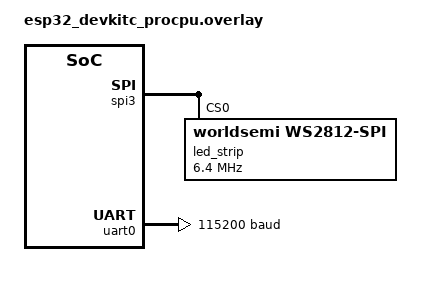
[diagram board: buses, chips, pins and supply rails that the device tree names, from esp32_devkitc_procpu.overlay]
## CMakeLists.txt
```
# Minimum CMake version required
cmake_minimum_required(VERSION 3.20.0)

#set(BOARD esp_wrover_kit/esp32/procpu CACHE STRING "Board name")

# Find the Zephyr package (required for all Zephyr projects)
find_package(Zephyr REQUIRED HINTS $ENV{ZEPHYR_BASE})

# Define the project name
project(Robot_proj)

# Add the source files to the application
target_sources(app PRIVATE
    src/main.c
    src/bluetooth.c
    src/led_control.c
    src/ultrasonic.c
)
```

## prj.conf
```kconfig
# Bluetooth
CONFIG_BT=y
CONFIG_BT_PERIPHERAL=y
CONFIG_BT_DEVICE_NAME="DogRobot"
CONFIG_BT_GATT_DYNAMIC_DB=y
CONFIG_BT_MAX_CONN=1
CONFIG_BT_DEVICE_APPEARANCE=833

# Logging
CONFIG_LOG=y
CONFIG_PRINTK=y

# Console
CONFIG_SERIAL=y
CONFIG_CONSOLE=y
CONFIG_UART_CONSOLE=y

# System
CONFIG_MAIN_STACK_SIZE=2048
CONFIG_HEAP_MEM_POOL_SIZE=32768

# FPU
CONFIG_FPU=y

# I2C Configuration
#CONFIG_I2C=y
#CONFIG_I2C_ESP32=y
#CONFIG_LOG_DEFAULT_LEVEL=3
#CONFIG_I2C_LOG_LEVEL_INF=y

# GPIO
CONFIG_GPIO=y
CONFIG_GPIO_ESP32=y

#servos
#CONFIG_PWM=y

# Force I2C bitbang mode (software I2C)
#CONFIG_I2C_BITBANG=y
#CONFIG_I2C_GPIO=y

# LED Strip (WS2812)
CONFIG_LED=y
CONFIG_LED_STRIP=y
CONFIG_WS2812_STRIP_SPI=y
CONFIG_SPI=y
```

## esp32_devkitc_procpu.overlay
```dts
/ {
    aliases {
        led-strip = &led_strip;
    };
};

/ {
    chosen {
        zephyr,sram = &sram0;
    };
};

&spi3 {
    status = "okay";
    
    led_strip: ws2812@0 {
        compatible = "worldsemi,ws2812-spi";
        reg = <0>;
        spi-max-frequency = <6400000>;
        
        chain-length = <4>;
        spi-one-frame = <0x70>;
        spi-zero-frame = <0x40>;
        color-mapping = <3 2 1>;
        reset-delay = <280>;
    };
};

&uart0 {
    status = "okay";
    current-speed = <115200>;
};
```

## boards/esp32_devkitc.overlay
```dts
/*
 * Device Tree Overlay for Freenove ESP32 Dog Robot
 * Board: esp32_devkitc
 * Hardware: ESP32-WROVER with OV2640 Camera
 * 
 * This file configures all the GPIO pins according to 
 * Freenove's official hardware layout.
 */

// Enable WiFi
&wifi {
    status = "okay";
};

// Bluetooth
&bluetooth {
    status = "okay";
};

// UART
&uart0 {
    status = "okay";
    current-speed = <115200>;
};
```

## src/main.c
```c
#include <stdio.h>
#include <zephyr/kernel.h>
#include <zephyr/logging/log.h>
#include "bluetooth.h"
#include "led_control.h"
#include "ultrasonic.h"

LOG_MODULE_REGISTER(main, LOG_LEVEL_INF);

/* Distance streaming control */
static bool distance_streaming_enabled = false;
static struct k_thread distance_thread;
static K_THREAD_STACK_DEFINE(distance_stack, 1024);

/* Distance streaming thread */
static void distance_streaming_thread(void *arg1, void *arg2, void *arg3)
{
    ARG_UNUSED(arg1);
    ARG_UNUSED(arg2);
    ARG_UNUSED(arg3);
    
    LOG_INF("Distance streaming thread started");
    
    while (1) {
        if (distance_streaming_enabled && bluetooth_is_connected()) {
            int distance = ultrasonic_get_distance_cm();
            
            char response[32];
            if (distance >= 0) {
                snprintf(response, sizeof(response), "DIST:%d", distance);
            } else {
                snprintf(response, sizeof(response), "DIST:---");
            }
            
            int ret = bluetooth_send_data((const uint8_t *)response, strlen(response));
            if (ret != 0) {
                LOG_WRN("Failed to send distance data");
            }
            
            k_msleep(200);  // Send every 200ms (5 times per second)
        } else {
            k_msleep(500);  // Check less frequently when disabled
        }
    }
}

/* Bluetooth data handler */
void on_bluetooth_data_received(const uint8_t *data, uint16_t len)
{
    if (len == 0) {
        return;
    }
    
    switch (data[0]) {
        case 'T':
            bluetooth_send_data((const uint8_t *)"Blinking LEDs...", sizeof("Blinking LEDs...") - 1);
            LOG_INF("→ 'T' received - Blinking LEDs");
            led_blink_test();
            bluetooth_send_data((const uint8_t *)"Blinking Complete", sizeof("Blinking Complete") - 1);
            break;
            
        case 'D':
            LOG_INF("→ 'D' received - Get Distance (single)");
            {
                int distance = ultrasonic_get_distance_cm();
                char response[32];
                if (distance >= 0) {
                    snprintf(response, sizeof(response), "DIST:%d", distance);
                } else {
                    snprintf(response, sizeof(response), "DIST:--");
                }
                bluetooth_send_data((const uint8_t *)response, strlen(response));
            }
            break;
            
        case 'A':
            LOG_INF("→ 'A' received - Start Auto Distance Streaming");
            distance_streaming_enabled = true;
            bluetooth_send_data((const uint8_t *)"Distance streaming ON", sizeof("Distance streaming ON") - 1);
            break;
            
        case 'Z':
            LOG_INF("→ 'Z' received - Stop Auto Distance Streaming");
            distance_streaming_enabled = false;
            break;
            
        case 'P':
            switch (data[1]) {
                case 'G':
                    bluetooth_send_data((const uint8_t *)"Executing grid walk", sizeof("Executing grid walk") - 1);
                    LOG_INF("→ 'PG' received - Executing grid walk pattern");
                    bluetooth_send_data((const uint8_t *)"Grid walk Complete", sizeof("Grid walk Complete") - 1);
                    // Call function to execute grid walk pattern
                    break;
                case 'S':
                    bluetooth_send_data((const uint8_t *)"Executing spiral walk", sizeof("Executing spiral walk") - 1);
                    LOG_INF("→ 'PS' received - Executing spiral walk pattern");
                    bluetooth_send_data((const uint8_t *)"Spiral walk Complete", sizeof("Spiral walk Complete") - 1);
                    // Call function to execute spiral walk pattern
                    break;
                case 'R':
                    bluetooth_send_data((const uint8_t *)"Executing random walk", sizeof("Executing random walk") - 1);
                    LOG_INF("→ 'PR' received - Executing random walk pattern");
                    bluetooth_send_data((const uint8_t *)"Random walk Complete", sizeof("Random walk Complete") - 1);
                    // Call function to execute random walk pattern
                    break;
                default:
                    LOG_INF("→ 'P' received with unknown pattern type: 0x%02X", data[1]);
                    break;
            }
            break;
            
        default:
            LOG_INF("Unknown command: 0x%02X", data[0]);
            break;
    }
}

int main(void)
{
    int ret;
    
    LOG_INF("========================================");
    LOG_INF("  Robot Control System");
    LOG_INF("========================================");
    
    /* Initialize LEDs */
    LOG_INF("1. Initializing LEDs...");
    ret = led_init();
    if (ret) {
        LOG_ERR("✗ LED init FAILED!");
        return ret;
    }
    LOG_INF("✓ LEDs initialized");
    
    /* Initialize Ultrasonic Sensor */
    LOG_INF("2. Initializing Ultrasonic Sensor...");
    ret = ultrasonic_init();
    if (ret) {
        LOG_ERR("✗ Ultrasonic init FAILED!");
        return ret;
    }
    LOG_INF("✓ Ultrasonic sensor initialized");
    
    /* Initialize Bluetooth */
    LOG_INF("3. Initializing Bluetooth...");
    ret = bluetooth_init();
    if (ret) {
        LOG_ERR("✗ Bluetooth init FAILED!");
        return ret;
    }
    LOG_INF("✓ Bluetooth initialized");
    
    bluetooth_register_callback(on_bluetooth_data_received);
    
    ret = bluetooth_start_advertising();
    if (ret) {
        LOG_ERR("✗ Advertising FAILED!");
        return ret;
    }
    
    /* Start distance streaming thread */
    LOG_INF("4. Starting distance streaming thread...");
    k_thread_create(&distance_thread, distance_stack,
                    K_THREAD_STACK_SIZEOF(distance_stack),
                    distance_streaming_thread,
                    NULL, NULL, NULL,
                    7, 0, K_NO_WAIT);
    k_thread_name_set(&distance_thread, "distance");
    LOG_INF("✓ Distance thread started");
    
    LOG_INF("========================================");
    LOG_INF("ROBOT READY!");
    LOG_INF("========================================");
    LOG_INF("Commands:");
    LOG_INF("  'T'  = Blink LEDs");
    LOG_INF("  'D'  = Get Distance (single)");
    LOG_INF("  'A'  = Auto distance streaming ON");
    LOG_INF("  'Z'  = Auto distance streaming OFF");
    LOG_INF("  'PG' = Grid walk pattern");
    LOG_INF("  'PS' = Spiral walk pattern");
    LOG_INF("  'PR' = Random walk pattern");
    LOG_INF("========================================");
    
    while (1) {
        k_msleep(5000);
    }
    
    return 0;
}
```

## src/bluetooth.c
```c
#include "bluetooth.h"
#include <zephyr/kernel.h>
#include <zephyr/bluetooth/bluetooth.h>
#include <zephyr/bluetooth/conn.h>
#include <zephyr/bluetooth/gatt.h>
#include <zephyr/logging/log.h>
#include <string.h>

LOG_MODULE_REGISTER(bluetooth, LOG_LEVEL_INF); /*This allows log messages from this file to be identified and filtered.*/

static struct bt_conn *current_conn = NULL; /*This stores the active Bluetooth connection.*/
static bool is_connected = false; /*Tracks if connected to bt*/
static bt_rx_callback_t rx_callback = NULL; /*Stores the user's callback function pointer*/

/* Custom Service UUID: 12345678-1234-5678-1234-56789abcdef0 */
#define BT_UUID_CUSTOM_SERVICE_VAL \
    BT_UUID_128_ENCODE(0x12345678, 0x1234, 0x5678, 0x1234, 0x56789abcdef0)

/* Custom Characteristic UUID: 12345678-1234-5678-1234-56789abcdef1 */
#define BT_UUID_CUSTOM_CHAR_VAL \
    BT_UUID_128_ENCODE(0x12345678, 0x1234, 0x5678, 0x1234, 0x56789abcdef1)

#define BT_UUID_CUSTOM_SERVICE  BT_UUID_DECLARE_128(BT_UUID_CUSTOM_SERVICE_VAL)
#define BT_UUID_CUSTOM_CHAR     BT_UUID_DECLARE_128(BT_UUID_CUSTOM_CHAR_VAL)


/* Connection callbacks: Callback function automatically called by Zephyr when a device connects */
static void connected(struct bt_conn *conn, uint8_t err)
{
    /*If err is non-zero (connection failed)*/
    if (err) {
        LOG_ERR("Connection failed: %u", err);
        return;
    }
    
    LOG_INF("Connected!");
    current_conn = bt_conn_ref(conn); /*prevents the connection from being freed while we're using it*/
    is_connected = true;
}

/*Callback automatically called when device disconnects.*/
static void disconnected(struct bt_conn *conn, uint8_t reason)
{
    LOG_INF("Disconnected (reason %u)", reason);
    
    /* Check if we have a stored connection*/
    if (current_conn) {
        bt_conn_unref(current_conn); /*Allows Zephyr to free the connection memory.*/
        current_conn = NULL;
    }
    is_connected = false;
}

/* GATT Write Callback - Called when phone sends data */
static ssize_t write_custom_char(struct bt_conn *conn,
                                 const struct bt_gatt_attr *attr,
                                 const void *buf, uint16_t len,
                                 uint16_t offset, uint8_t flags)
{
    const uint8_t *data = buf;
    
    LOG_INF("Received %d bytes via GATT", len);
    
    /* Call user callback if registered */
    if (rx_callback && len > 0) {
        rx_callback(data, len);
    }
    
    return len;
}

/* GATT Read Callback - Called when phone reads data */
static ssize_t read_custom_char(struct bt_conn *conn,
                               const struct bt_gatt_attr *attr,
                               void *buf, uint16_t len, uint16_t offset)
{
    const char *value = "OK";
    return bt_gatt_attr_read(conn, attr, buf, len, offset, value, strlen(value));
}

/* Define GATT Service and Characteristic */
BT_GATT_SERVICE_DEFINE(custom_svc,
    BT_GATT_PRIMARY_SERVICE(BT_UUID_CUSTOM_SERVICE),
    BT_GATT_CHARACTERISTIC(BT_UUID_CUSTOM_CHAR,
                          BT_GATT_CHRC_READ | BT_GATT_CHRC_WRITE | BT_GATT_CHRC_WRITE_WITHOUT_RESP | BT_GATT_CHRC_NOTIFY,
                          BT_GATT_PERM_READ | BT_GATT_PERM_WRITE,
                          read_custom_char, write_custom_char, NULL),
    BT_GATT_CCC(NULL, BT_GATT_PERM_READ | BT_GATT_PERM_WRITE),
);

BT_CONN_CB_DEFINE(conn_callbacks) = {
    .connected = connected, /*When connection happens, calls the connected() function*/
    .disconnected = disconnected, /*When disconnection happens, call the disconnected() function*/
};

/* Advertisement parameters: defines how device is advertised */
static const struct bt_le_adv_param adv_param = {
    .id = BT_ID_DEFAULT,
    .sid = 0,
    .secondary_max_skip = 0,
    .options = BT_LE_ADV_OPT_CONN | BT_LE_ADV_OPT_USE_NAME,
    .interval_min = BT_GAP_ADV_FAST_INT_MIN_2,
    .interval_max = BT_GAP_ADV_FAST_INT_MAX_2,
    .peer = NULL,
};

/* Advertisement data: Array of data packets to broadcast */
static const struct bt_data ad[] = {
    BT_DATA_BYTES(BT_DATA_FLAGS, BT_LE_AD_GENERAL | BT_LE_AD_NO_BREDR),
    BT_DATA_BYTES(BT_DATA_UUID128_ALL, BT_UUID_CUSTOM_SERVICE_VAL),  // ← ADDED
}; /*Tells scanners its a BLE device*/


/*Initialises bluetooth*/
int bluetooth_init(void)
{
    int err; /*Store error codes*/
    
    LOG_INF("Initializing Bluetooth...");
    
    err = bt_enable(NULL); /*Powers on the BLE radio*/
    /* if err!=0, log and returns error code*/
    if (err) {
        LOG_ERR("Bluetooth init failed (err %d)", err);
        return err;
    }
    
    LOG_INF("Bluetooth initialized");
    LOG_INF("GATT service registered"); 

    return 0;
}


/*Start broadcasting presence to other devices*/
int bluetooth_start_advertising(void)
{
    int err;
    
    LOG_INF("Starting advertising...");
    
    err = bt_le_adv_start(&adv_param, ad, ARRAY_SIZE(ad), NULL, 0); /*Starts broadcasting BLE ad packets*/
    if (err) {
        LOG_ERR("Advertising failed (err %d)", err);
        return err;
    }
    
    LOG_INF("Advertising as '%s'", CONFIG_BT_DEVICE_NAME);
    return 0;
}


/*Returns current connection status*/
bool bluetooth_is_connected(void)
{
    return is_connected;
}


/**/
void bluetooth_register_callback(bt_rx_callback_t callback)
{
    rx_callback = callback;
    LOG_INF("RX callback registered");
}

/* Send data to connected device */
int bluetooth_send_data(const uint8_t *data, uint16_t len)
{
    if (!is_connected || !current_conn) {
        LOG_WRN("Cannot send: not connected");
        return -ENOTCONN;
    }
    
    if (len == 0 || len > 512) {
        LOG_ERR("Invalid data length: %d", len);
        return -EINVAL;
    }
    
    /* Send notification through the custom characteristic */
    int ret = bt_gatt_notify(current_conn, &custom_svc.attrs[2], data, len);
    
    if (ret == 0) {
        LOG_INF("Sent %d bytes to device", len);
    } else {
        LOG_ERR("Failed to send data: %d", ret);
    }
    
    return ret;
}
```

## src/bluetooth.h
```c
/*If BLUETOOTH_h not defined, the next lines defines it in the code until endif
if defined, then skips to endif*/
#ifndef BLUETOOTH_H 
#define BLUETOOTH_H

#include <stdint.h> /*Provides fixed-width integer types like uint8_t, uint16_t*/
#include <stdbool.h> /*Provides the bool type (true/false)*/

/* Initialize Bluetooth: Function declaration that will initialize the Bluetooth stack. Returns int (0 for success, negative for error) */ 
int bluetooth_init(void);

/* Start advertising: Function to start BLE advertising so other devices can discover this device. Returns status code. */
int bluetooth_start_advertising(void);

/* Check if connected: Returns true if a device is currently connected via Bluetooth, false otherwise. */
bool bluetooth_is_connected(void);

/* Callback for received data: This allows users to register their own function to handle incoming Bluetooth data*/
typedef void (*bt_rx_callback_t)(const uint8_t *data, uint16_t len);

/* Register callback for incoming data */
void bluetooth_register_callback(bt_rx_callback_t callback);

/* Send data to connected device */
int bluetooth_send_data(const uint8_t *data, uint16_t len);

#endif /* BLUETOOTH_H */
```

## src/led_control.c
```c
#include "led_control.h"
#include <zephyr/kernel.h>
#include <zephyr/device.h>
#include <zephyr/drivers/led_strip.h>
#include <zephyr/logging/log.h>

LOG_MODULE_REGISTER(led, LOG_LEVEL_INF);

#define STRIP_NODE DT_ALIAS(led_strip)
#define STRIP_NUM_PIXELS DT_PROP(DT_ALIAS(led_strip), chain_length)

static const struct device *strip = DEVICE_DT_GET(STRIP_NODE);
static struct led_rgb pixels[STRIP_NUM_PIXELS];

/* Initialize LED strip */
int led_init(void)
{
    LOG_INF("Initializing LED strip...");
    
    if (!device_is_ready(strip)) {
        LOG_ERR("LED strip device not ready");
        return -ENODEV;
    }
    
    LOG_INF("✓ LED strip ready (%d LEDs)", STRIP_NUM_PIXELS);
    
    /* Clear all LEDs on startup */
    for (int i = 0; i < STRIP_NUM_PIXELS; i++) {
        pixels[i].r = 0;
        pixels[i].g = 0;
        pixels[i].b = 0;
    }
    led_strip_update_rgb(strip, pixels, STRIP_NUM_PIXELS);
    
    return 0;
}

/* Simple blink - all LEDs white, 5 times */
void led_blink_test(void)
{
    LOG_INF("Blinking all LEDs...");
    
    for (int blink = 0; blink < 5; blink++) {
        /* Turn ON - White */
        for (int i = 0; i < STRIP_NUM_PIXELS; i++) {
            pixels[i].r = 255;
            pixels[i].g = 255;
            pixels[i].b = 255;
        }
        led_strip_update_rgb(strip, pixels, STRIP_NUM_PIXELS);
        LOG_INF("  ON");
        k_msleep(500);
        
        /* Turn OFF */
        for (int i = 0; i < STRIP_NUM_PIXELS; i++) {
            pixels[i].r = 0;
            pixels[i].g = 0;
            pixels[i].b = 0;
        }
        led_strip_update_rgb(strip, pixels, STRIP_NUM_PIXELS);
        LOG_INF("  OFF");
        k_msleep(500);
    }
    
    LOG_INF("✓ Blink complete");
}
```

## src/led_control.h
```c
#ifndef LED_CONTROL_H
#define LED_CONTROL_H

/* Initialize LED strip */
int led_init(void);

/* Simple blink test */
void led_blink_test(void);

#endif /* LED_CONTROL_H */
```

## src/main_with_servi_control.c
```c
#include <stdio.h>
#include <zephyr/kernel.h>
#include <zephyr/drivers/gpio.h>
#include <zephyr/logging/log.h>
#include "bluetooth.h"
#include "servo_control.h"
#include "motion_control.h"

LOG_MODULE_REGISTER(main, LOG_LEVEL_INF);

/* Bluetooth data handler - checks index and calls appropriate function */
void on_bluetooth_data_received(const uint8_t *data, uint16_t len)
{
    LOG_INF("========================================");
    LOG_INF("Received %d bytes via Bluetooth", len);
    LOG_INF("========================================");
    
    if (len == 0) {
        LOG_WRN("Empty data received");
        return;
    }
    
    /* Check first byte (index 0) to determine command type */
    uint8_t command = data[0];
    
    LOG_INF("Command byte [0]: 0x%02X ('%c')", command, 
            (command >= 0x20 && command <= 0x7E) ? command : '?');
    
    /* Check for motion commands with parameters (3-byte format) */
    switch (command) {
        case 'F': // FORWARD
            if (len >= 3) {
                uint8_t angle = data[1];
                uint8_t speed = data[2];
                LOG_INF("→ 'F' with params: Calling motion_move_forward(angle=%d, speed=%d)", angle, speed);
                motion_move_forward(angle, speed);
            } else {
                LOG_INF("→ 'F' simple: Calling motion_move_forward(0, SPEED_MEDIUM)");
                motion_move_forward(0, SPEED_MEDIUM);
            }
            break;
            
        case 'B': // BACKWARD
            if (len >= 3) {
                uint8_t angle = data[1];
                uint8_t speed = data[2];
                LOG_INF("→ 'B' with params: Calling motion_move_backward(angle=%d, speed=%d)", angle, speed);
                motion_move_backward(angle, speed);
            } else {
                LOG_INF("→ 'B' simple: Calling motion_move_backward(0, SPEED_MEDIUM)");
                motion_move_backward(0, SPEED_MEDIUM);
            }
            break;
            
        case 'L': // WALK LEFT
            if (len >= 3) {
                uint8_t angle = data[1];
                uint8_t speed = data[2];
                LOG_INF("→ 'L' with params: Calling motion_walk_left(angle=%d, speed=%d)", angle, speed);
                motion_walk_left(angle, speed);
            } else {
                LOG_INF("→ 'L' simple: Calling motion_walk_left(45, SPEED_MEDIUM)");
                motion_walk_left(45, SPEED_MEDIUM);
            }
            break;
            
        case 'R': // WALK RIGHT
            if (len >= 3) {
                uint8_t angle = data[1];
                uint8_t speed = data[2];
                LOG_INF("→ 'R' with params: Calling motion_walk_right(angle=%d, speed=%d)", angle, speed);
                motion_walk_right(angle, speed);
            } else {
                LOG_INF("→ 'R' simple: Calling motion_walk_right(45, SPEED_MEDIUM)");
                motion_walk_right(45, SPEED_MEDIUM);
            }
            break;
            
        case 'S': // STOP
            LOG_INF("→ 'S' - Calling motion_stop()");
            motion_stop();
            break;
            
        case 'W': // WAVE
            LOG_INF("→ 'W' - Calling motion_wave()");
            motion_wave();
            break;
            
        case 'T': // TEST SERVOS
            LOG_INF("→ 'T' - Calling motion_test_servos()");
            motion_test_servos();
            break;
            
        case 'H': // HOME ALL
            LOG_INF("→ 'H' - Calling servo_home_all()");
            motion_stop();
            servo_home_all();
            break;
            
        default:
            LOG_WRN("Unknown command: 0x%02X", command);
            if (command >= 0x20 && command <= 0x7E) {
                LOG_WRN("  (ASCII: '%c')", command);
            }
            break;
    }
}

/* System initialization */
static int system_init(void) {
    int ret;
    
    LOG_INF("========================================");
    LOG_INF("  Robot System Initialization");
    LOG_INF("========================================");
    
    /* Initialize Servo Control */
    LOG_INF("1. Initializing Servos...");
    ret = servo_init();
    if (ret) {
        LOG_ERR("✗ Servo init FAILED! Error: %d", ret);
        return ret;
    }
    LOG_INF("✓ Servos initialized");
    
    /* Initialize Motion Control */
    LOG_INF("2. Initializing Motion Control...");
    ret = motion_init();
    if (ret) {
        LOG_ERR("✗ Motion init FAILED! Error: %d", ret);
        return ret;
    }
    LOG_INF("✓ Motion control initialized");
    
    /* Initialize Bluetooth */
    LOG_INF("3. Initializing Bluetooth...");
    ret = bluetooth_init();
    if (ret) {
        LOG_ERR("✗ Bluetooth init FAILED! Error: %d", ret);
        return ret;
    }
    LOG_INF("✓ Bluetooth initialized");
    
    /* Register Bluetooth callback */
    LOG_INF("4. Registering Bluetooth callback...");
    bluetooth_register_callback(on_bluetooth_data_received);
    LOG_INF("✓ Callback registered");
    
    /* Start Bluetooth advertising */
    LOG_INF("5. Starting Bluetooth advertising...");
    ret = bluetooth_start_advertising();
    if (ret) {
        LOG_ERR("✗ Advertising FAILED! Error: %d", ret);
        return ret;
    }
    LOG_INF("✓ Advertising started");
    
    LOG_INF("========================================");
    LOG_INF("All systems initialized!");
    LOG_INF("========================================");
    
    return 0;
}

int main(void)
{
    int ret;
    
    LOG_INF("========================================");
    LOG_INF("  Freenove ESP32 Dog Robot");
    LOG_INF("  Index-Based Motion Control");
    LOG_INF("========================================");
    
    /* Initialize all systems */
    ret = system_init();
    if (ret) {
        LOG_ERR("========================================");
        LOG_ERR("FATAL: System initialization failed!");
        LOG_ERR("Error code: %d", ret);
        LOG_ERR("========================================");
        return ret;
    }
    
    LOG_INF("========================================");
    LOG_INF("ROBOT READY!");
    LOG_INF("========================================");
    LOG_INF("");
    LOG_INF("Command Format: [letter, angle, speed]");
    LOG_INF("");
    LOG_INF("MOTION COMMANDS:");
    LOG_INF("  Simple (1 byte):");
    LOG_INF("    'F' = Forward (medium speed)");
    LOG_INF("    'B' = Backward (medium speed)");
    LOG_INF("    'L' = Walk Left (45° angle, medium speed)");
    LOG_INF("    'R' = Walk Right (45° angle, medium speed)");
    LOG_INF("    'S' = Stop");
    LOG_INF("");
    LOG_INF("  With Parameters (3 bytes):");
    LOG_INF("    ['F', angle, speed] = Forward with diagonal angle");
    LOG_INF("    ['B', angle, speed] = Backward with diagonal angle");
    LOG_INF("    ['L', angle, speed] = Walk Left (angle controls step size)");
    LOG_INF("    ['R', angle, speed] = Walk Right (angle controls step size)");
    LOG_INF("");
    LOG_INF("SPECIAL COMMANDS (1 byte):");
    LOG_INF("  'W' = Wave");
    LOG_INF("  'T' = Test All Servos");
    LOG_INF("  'H' = Home Position");
    LOG_INF("");
    LOG_INF("Parameters:");
    LOG_INF("  angle: 0-180° (0=minimal, 90=full stride, 180=max)");
    LOG_INF("  speed: 1=Slow, 2=Medium, 3=Fast");
    LOG_INF("");
    LOG_INF("Examples:");
    LOG_INF("  ['F']          → Forward, medium speed");
    LOG_INF("  ['F', 0, 3]    → Forward, fast speed");
    LOG_INF("  ['L', 30, 1]   → Walk left (small steps), slow");
    LOG_INF("  ['R', 90, 2]   → Walk right (full strides), medium");
    LOG_INF("  ['W']          → Wave gesture");
    LOG_INF("========================================");
    
    /* Main loop */
    int loop_count = 0;
    
    while (1) {
        loop_count++;
        
        if (bluetooth_is_connected()) {
            LOG_INF("[%d] ✓ Connected | Waiting for commands", loop_count);
        } else {
            LOG_INF("[%d] ○ Waiting for Bluetooth connection...", loop_count);
        }
        
        k_msleep(5000);
    }
    
    return 0;
}
```

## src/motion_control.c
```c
#include "motion_control.h"
#include "servo_control.h"
#include <zephyr/kernel.h>
#include <zephyr/logging/log.h>

LOG_MODULE_REGISTER(motion, LOG_LEVEL_INF);

/* Speed timing configurations (milliseconds per step) */
#define SPEED_SLOW_DELAY      150
#define SPEED_MEDIUM_DELAY    100
#define SPEED_FAST_DELAY      50

/* Gait angles for walking */
#define SHOULDER_FORWARD      60
#define SHOULDER_BACKWARD     120
#define SHOULDER_NEUTRAL      90

#define ARM_LIFTED            45
#define ARM_DOWN              90

#define HAND_UP               60
#define HAND_DOWN             90

/* Current motion state */
static motion_cmd_t current_motion = {0};
static bool motion_active = false;
static struct k_thread motion_thread;
static K_THREAD_STACK_DEFINE(motion_stack, 2048);

/* Get delay based on speed level */
static uint32_t get_speed_delay(uint8_t speed)
{
    switch (speed) {
        case SPEED_SLOW:
            return SPEED_SLOW_DELAY;
        case SPEED_MEDIUM:
            return SPEED_MEDIUM_DELAY;
        case SPEED_FAST:
            return SPEED_FAST_DELAY;
        default:
            return SPEED_MEDIUM_DELAY;
    }
}

/* Walking gait - alternating tripod with diagonal angle support */
static void execute_walk_step(bool forward, uint8_t angle, uint8_t speed)
{
    uint32_t delay = get_speed_delay(speed);
    
    // Calculate diagonal movement based on angle (0° = straight, 90° = full sideways)
    // angle: 0-180 where 0=straight ahead, 90=perpendicular, 180=opposite direction
    
    uint8_t shoulder_angle = forward ? SHOULDER_FORWARD : SHOULDER_BACKWARD;
    uint8_t shoulder_angle_opp = forward ? SHOULDER_BACKWARD : SHOULDER_FORWARD;
    
    /* Phase 1: Lift right front, left back, move left front and right back */
    // Lift legs
    servo_set_angle(SERVO_RF_ARM, ARM_LIFTED);
    servo_set_angle(SERVO_LB_ARM, ARM_LIFTED);
    k_msleep(delay);
    
    // Move shoulders
    servo_set_angle(SERVO_RF_SHOULDER, shoulder_angle);
    servo_set_angle(SERVO_LF_SHOULDER, shoulder_angle_opp + 30);
    servo_set_angle(SERVO_RB_SHOULDER, shoulder_angle_opp + 30);
    servo_set_angle(SERVO_LB_SHOULDER, shoulder_angle);
    k_msleep(delay);
    
    // Lower legs
    servo_set_angle(SERVO_RF_ARM, ARM_DOWN);
    servo_set_angle(SERVO_LB_ARM, ARM_DOWN);
    k_msleep(delay);
    
    /* Phase 2: Lift left front, right back, move right front and left back */
    // Lift legs
    servo_set_angle(SERVO_LF_ARM, ARM_LIFTED);
    servo_set_angle(SERVO_RB_ARM, ARM_LIFTED);
    k_msleep(delay);
    
    // Move shoulders
    servo_set_angle(SERVO_LF_SHOULDER, shoulder_angle);
    servo_set_angle(SERVO_RF_SHOULDER, shoulder_angle_opp + 30);
    servo_set_angle(SERVO_LB_SHOULDER, shoulder_angle_opp + 30);
    servo_set_angle(SERVO_RB_SHOULDER, shoulder_angle);
    k_msleep(delay);
    
    // Lower legs
    servo_set_angle(SERVO_LF_ARM, ARM_DOWN);
    servo_set_angle(SERVO_RB_ARM, ARM_DOWN);
    k_msleep(delay);
}

/* Sideways walking gait - crab walk left or right */
static void execute_sidestep(bool left, uint8_t angle, uint8_t speed)
{
    uint32_t delay = get_speed_delay(speed);
    
    // Calculate step size based on angle (0-180)
    // angle determines how far to the side we move
    // 0° = minimal side step, 90° = full side step, 180° = extreme side step
    uint8_t step_amount = (angle * 45) / 90; // Map 0-90° to 0-45° servo movement
    if (step_amount > 45) step_amount = 45;
    
    if (left) {
        /* Walk left - right legs push, left legs pull */
        
        // Phase 1: Lift and move right side out
        servo_set_angle(SERVO_RF_ARM, ARM_LIFTED);
        servo_set_angle(SERVO_RB_ARM, ARM_LIFTED);
        k_msleep(delay);
        
        // Push right side to the right
        servo_set_angle(SERVO_RF_SHOULDER, SHOULDER_NEUTRAL + step_amount);
        servo_set_angle(SERVO_RB_SHOULDER, SHOULDER_NEUTRAL + step_amount);
        k_msleep(delay);
        
        // Plant right side
        servo_set_angle(SERVO_RF_ARM, ARM_DOWN);
        servo_set_angle(SERVO_RB_ARM, ARM_DOWN);
        k_msleep(delay);
        
        // Phase 2: Lift and move left side
        servo_set_angle(SERVO_LF_ARM, ARM_LIFTED);
        servo_set_angle(SERVO_LB_ARM, ARM_LIFTED);
        k_msleep(delay);
        
        // Pull left side inward (body moves left)
        servo_set_angle(SERVO_LF_SHOULDER, SHOULDER_NEUTRAL + step_amount);
        servo_set_angle(SERVO_LB_SHOULDER, SHOULDER_NEUTRAL + step_amount);
        k_msleep(delay);
        
        // Plant left side
        servo_set_angle(SERVO_LF_ARM, ARM_DOWN);
        servo_set_angle(SERVO_LB_ARM, ARM_DOWN);
        k_msleep(delay);
        
        // Phase 3: Reset right side back to center
        servo_set_angle(SERVO_RF_ARM, ARM_LIFTED);
        servo_set_angle(SERVO_RB_ARM, ARM_LIFTED);
        k_msleep(delay);
        
        servo_set_angle(SERVO_RF_SHOULDER, SHOULDER_NEUTRAL);
        servo_set_angle(SERVO_RB_SHOULDER, SHOULDER_NEUTRAL);
        k_msleep(delay);
        
        servo_set_angle(SERVO_RF_ARM, ARM_DOWN);
        servo_set_angle(SERVO_RB_ARM, ARM_DOWN);
        k_msleep(delay);
        
    } else {
        /* Walk right - left legs push, right legs pull */
        
        // Phase 1: Lift and move left side out
        servo_set_angle(SERVO_LF_ARM, ARM_LIFTED);
        servo_set_angle(SERVO_LB_ARM, ARM_LIFTED);
        k_msleep(delay);
        
        // Push left side to the left
        servo_set_angle(SERVO_LF_SHOULDER, SHOULDER_NEUTRAL - step_amount);
        servo_set_angle(SERVO_LB_SHOULDER, SHOULDER_NEUTRAL - step_amount);
        k_msleep(delay);
        
        // Plant left side
        servo_set_angle(SERVO_LF_ARM, ARM_DOWN);
        servo_set_angle(SERVO_LB_ARM, ARM_DOWN);
        k_msleep(delay);
        
        // Phase 2: Lift and move right side
        servo_set_angle(SERVO_RF_ARM, ARM_LIFTED);
        servo_set_angle(SERVO_RB_ARM, ARM_LIFTED);
        k_msleep(delay);
        
        // Pull right side inward (body moves right)
        servo_set_angle(SERVO_RF_SHOULDER, SHOULDER_NEUTRAL - step_amount);
        servo_set_angle(SERVO_RB_SHOULDER, SHOULDER_NEUTRAL - step_amount);
        k_msleep(delay);
        
        // Plant right side
        servo_set_angle(SERVO_RF_ARM, ARM_DOWN);
        servo_set_angle(SERVO_RB_ARM, ARM_DOWN);
        k_msleep(delay);
        
        // Phase 3: Reset left side back to center
        servo_set_angle(SERVO_LF_ARM, ARM_LIFTED);
        servo_set_angle(SERVO_LB_ARM, ARM_LIFTED);
        k_msleep(delay);
        
        servo_set_angle(SERVO_LF_SHOULDER, SHOULDER_NEUTRAL);
        servo_set_angle(SERVO_LB_SHOULDER, SHOULDER_NEUTRAL);
        k_msleep(delay);
        
        servo_set_angle(SERVO_LF_ARM, ARM_DOWN);
        servo_set_angle(SERVO_LB_ARM, ARM_DOWN);
        k_msleep(delay);
    }
}

/* Motion execution thread */
static void motion_thread_fn(void *arg1, void *arg2, void *arg3)
{
    ARG_UNUSED(arg1);
    ARG_UNUSED(arg2);
    ARG_UNUSED(arg3);
    
    LOG_INF("Motion thread started");
    
    while (1) {
        if (motion_active) {
            switch (current_motion.direction) {
                case DIR_FORWARD:
                    execute_walk_step(true, current_motion.angle, current_motion.speed);
                    break;
                    
                case DIR_BACKWARD:
                    execute_walk_step(false, current_motion.angle, current_motion.speed);
                    break;
                    
                case DIR_WALK_LEFT:
                    execute_sidestep(true, current_motion.angle, current_motion.speed);
                    break;
                    
                case DIR_WALK_RIGHT:
                    execute_sidestep(false, current_motion.angle, current_motion.speed);
                    break;
                    
                case DIR_STOP:
                    motion_active = false;
                    servo_home_all();
                    break;
                    
                default:
                    motion_active = false;
                    LOG_WRN("Unknown direction: 0x%02X", current_motion.direction);
                    break;
            }
        } else {
            k_msleep(50);
        }
    }
}

/* Initialize motion control */
int motion_init(void)
{
    LOG_INF("Initializing motion control...");
    
    /* Create motion execution thread */
    k_thread_create(&motion_thread, motion_stack,
                    K_THREAD_STACK_SIZEOF(motion_stack),
                    motion_thread_fn,
                    NULL, NULL, NULL,
                    7, 0, K_NO_WAIT);
    
    k_thread_name_set(&motion_thread, "motion");
    
    LOG_INF("✓ Motion control initialized");
    return 0;
}

/* Process motion command */
int motion_process_command(const uint8_t *data, uint16_t len)
{
    if (len < 3) {
        LOG_ERR("Invalid command length: %d (expected 3)", len);
        return -EINVAL;
    }
    
    motion_cmd_t cmd;
    cmd.direction = data[0];
    cmd.angle = data[1];
    cmd.speed = data[2];
    
    LOG_INF("========================================");
    LOG_INF("Motion Command Received:");
    LOG_INF("  Direction: 0x%02X", cmd.direction);
    LOG_INF("  Angle: %d°", cmd.angle);
    LOG_INF("  Speed: %d", cmd.speed);
    LOG_INF("========================================");
    
    /* Validate speed */
    if (cmd.speed < SPEED_SLOW || cmd.speed > SPEED_FAST) {
        LOG_ERR("Invalid speed: %d (must be 1-3)", cmd.speed);
        return -EINVAL;
    }
    
    /* Validate angle */
    if (cmd.angle > 180) {
        LOG_WRN("Angle clamped from %d to 180", cmd.angle);
        cmd.angle = 180;
    }
    
    /* Update current motion */
    current_motion = cmd;
    
    /* Execute based on direction */
    switch (cmd.direction) {
        case DIR_FORWARD:
            LOG_INF("→ MOVING FORWARD (Speed: %d)", cmd.speed);
            motion_active = true;
            break;
            
        case DIR_BACKWARD:
            LOG_INF("→ MOVING BACKWARD (Speed: %d)", cmd.speed);
            motion_active = true;
            break;
            
        case DIR_WALK_LEFT:
            LOG_INF("→ TURNING LEFT (Angle: %d°, Speed: %d)", cmd.angle, cmd.speed);
            motion_active = true;
            break;
            
        case DIR_WALK_RIGHT:
            LOG_INF("→ TURNING RIGHT (Angle: %d°, Speed: %d)", cmd.angle, cmd.speed);
            motion_active = true;
            break;
            
        case DIR_STOP:
            LOG_INF("→ STOP");
            motion_stop();
            break;
            
        default:
            LOG_ERR("Unknown direction code: 0x%02X", cmd.direction);
            return -EINVAL;
    }
    
    return 0;
}

/* Stop all motion */
void motion_stop(void)
{
    LOG_INF("Stopping motion...");
    motion_active = false;
    servo_home_all();
    LOG_INF("✓ Motion stopped");
}

/* Direct motion functions */
int motion_move_forward(uint8_t angle, uint8_t speed)
{
    /* Validate inputs */
    if (speed < SPEED_SLOW || speed > SPEED_FAST) {
        LOG_ERR("Invalid speed: %d", speed);
        return -EINVAL;
    }
    
    LOG_INF("Moving forward - Speed: %d", speed);
    current_motion.direction = DIR_FORWARD;
    current_motion.angle = angle;
    current_motion.speed = speed;
    motion_active = true;
    return 0;
}

int motion_move_backward(uint8_t angle, uint8_t speed)
{
    /* Validate inputs */
    if (speed < SPEED_SLOW || speed > SPEED_FAST) {
        LOG_ERR("Invalid speed: %d", speed);
        return -EINVAL;
    }
    
    LOG_INF("Moving backward - Speed: %d", speed);
    current_motion.direction = DIR_BACKWARD;
    current_motion.angle = angle;
    current_motion.speed = speed;
    motion_active = true;
    return 0;
}

int motion_walk_left(uint8_t angle, uint8_t speed)
{
    /* Validate inputs */
    if (speed < SPEED_SLOW || speed > SPEED_FAST) {
        LOG_ERR("Invalid speed: %d", speed);
        return -EINVAL;
    }
    if (angle > 180) {
        angle = 180;
    }
    
    LOG_INF("Walking left - Angle: %d°, Speed: %d", angle, speed);
    current_motion.direction = DIR_WALK_LEFT;
    current_motion.angle = angle;
    current_motion.speed = speed;
    motion_active = true;
    return 0;
}

int motion_walk_right(uint8_t angle, uint8_t speed)
{
    /* Validate inputs */
    if (speed < SPEED_SLOW || speed > SPEED_FAST) {
        LOG_ERR("Invalid speed: %d", speed);
        return -EINVAL;
    }
    if (angle > 180) {
        angle = 180;
    }
    
    LOG_INF("Walking right - Angle: %d°, Speed: %d", angle, speed);
    current_motion.direction = DIR_WALK_RIGHT;
    current_motion.angle = angle;
    current_motion.speed = speed;
    motion_active = true;
    return 0;
}

/* Special actions */
int motion_wave(void)
{
    LOG_INF("Executing wave gesture");
    
    /* Stop current motion */
    motion_active = false;
    k_msleep(100);
    
    /* Wave with right front leg */
    for (int i = 0; i < 3; i++) {
        servo_set_angle(SERVO_RF_SHOULDER, 45);
        k_msleep(300);
        servo_set_angle(SERVO_RF_SHOULDER, 135);
        k_msleep(300);
    }
    servo_set_angle(SERVO_RF_SHOULDER, 90);
    
    LOG_INF("✓ Wave complete");
    return 0;
}

int motion_test_servos(void)
{
    LOG_INF("========================================");
    LOG_INF("Testing all servos...");
    LOG_INF("========================================");
    
    /* Stop current motion */
    motion_active = false;
    k_msleep(100);
    
    for (int servo = 0; servo < NUM_SERVOS; servo++) {
        LOG_INF("Testing servo %d:", servo);
        
        // Move to 45°
        LOG_INF("  → 45°");
        servo_set_angle(servo, 45);
        k_msleep(500);
        
        // Move to 135°
        LOG_INF("  → 135°");
        servo_set_angle(servo, 135);
        k_msleep(500);
        
        // Return to home
        LOG_INF("  → 90° (home)");
        servo_set_angle(servo, 90);
        k_msleep(300);
    }
    
    LOG_INF("========================================");
    LOG_INF("✓ All servos tested!");
    LOG_INF("========================================");
    
    return 0;
}
```

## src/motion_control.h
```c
#ifndef MOTION_CONTROL_H
#define MOTION_CONTROL_H

#include <stdint.h>

/* Motion command structure */
typedef struct {
    uint8_t direction;  // Direction code
    uint8_t angle;      // Turning angle (0-180)
    uint8_t speed;      // Speed level (1-3)
} motion_cmd_t;

/* Direction codes */
#define DIR_FORWARD     0x01
#define DIR_BACKWARD    0x02
#define DIR_WALK_LEFT   0x03
#define DIR_WALK_RIGHT  0x04
#define DIR_STOP        0x00

/* Speed levels */
#define SPEED_SLOW      1
#define SPEED_MEDIUM    2
#define SPEED_FAST      3

/* Initialize motion control system */
int motion_init(void);

/* Stop all motion */
void motion_stop(void);

/* Execute specific motion with parameters */
int motion_move_forward(uint8_t angle, uint8_t speed);
int motion_move_backward(uint8_t angle, uint8_t speed);
int motion_walk_left(uint8_t angle, uint8_t speed);
int motion_walk_right(uint8_t angle, uint8_t speed);

/* Special actions */
int motion_wave(void);
int motion_test_servos(void);

#endif /* MOTION_CONTROL_H */
```

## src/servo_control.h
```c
#ifndef SERVO_CONTROL_H
#define SERVO_CONTROL_H

#include <stdint.h>

/* Number of servos (12 total - 3 per leg × 4 legs) */
#define NUM_SERVOS 12

/* Servo IDs for each leg joint */
#define SERVO_RF_SHOULDER 0   // Right Front Shoulder
#define SERVO_RF_ARM      1   // Right Front Arm
#define SERVO_RF_HAND     2   // Right Front Hand

#define SERVO_LF_SHOULDER 3   // Left Front Shoulder
#define SERVO_LF_ARM      4   // Left Front Arm
#define SERVO_LF_HAND     5   // Left Front Hand

#define SERVO_RB_SHOULDER 6   // Right Back Shoulder
#define SERVO_RB_ARM      7   // Right Back Arm
#define SERVO_RB_HAND     8   // Right Back Hand

#define SERVO_LB_SHOULDER 9   // Left Back Shoulder
#define SERVO_LB_ARM      10  // Left Back Arm
#define SERVO_LB_HAND     11  // Left Back Hand

/* Initialize servo controller */
int servo_init(void);

/* Set servo angle (0-180 degrees) */
int servo_set_angle(uint8_t servo_id, uint8_t angle);

/* Set all servos to home position (90 degrees) */
void servo_home_all(void);

/* Get current servo angle */
uint8_t servo_get_angle(uint8_t servo_id);

#endif /* SERVO_CONTROL_H */
```

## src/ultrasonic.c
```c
#include "ultrasonic.h"
#include <zephyr/kernel.h>
#include <zephyr/logging/log.h>
#include <soc.h>

LOG_MODULE_REGISTER(ultrasonic, LOG_LEVEL_INF);

/* HC-SR04 Pins */
#define TRIG_PIN 32
#define ECHO_PIN 12

/* ESP32 GPIO Register base addresses 
 * GPIO 0-31 use regular registers
 * GPIO 32-39 use high registers (GPIO1)
 */
#define GPIO_OUT_REG       (*(volatile uint32_t *)0x3FF44004)
#define GPIO_OUT_W1TS_REG  (*(volatile uint32_t *)0x3FF44008)
#define GPIO_OUT_W1TC_REG  (*(volatile uint32_t *)0x3FF4400C)
#define GPIO_IN_REG        (*(volatile uint32_t *)0x3FF4403C)
#define GPIO_ENABLE_REG    (*(volatile uint32_t *)0x3FF44020)

#define GPIO1_OUT_REG      (*(volatile uint32_t *)0x3FF44010)
#define GPIO1_OUT_W1TS_REG (*(volatile uint32_t *)0x3FF44014)
#define GPIO1_OUT_W1TC_REG (*(volatile uint32_t *)0x3FF44018)
#define GPIO1_IN_REG       (*(volatile uint32_t *)0x3FF44040)
#define GPIO1_ENABLE_REG   (*(volatile uint32_t *)0x3FF4402C)

/* ROM function for microsecond delay */
extern void ets_delay_us(uint32_t us);

/* Get microsecond timestamp */
static inline uint32_t micros(void)
{
    return k_cyc_to_us_floor32(k_cycle_get_32());
}

/* Initialize ultrasonic sensor */
int ultrasonic_init(void)
{
    LOG_INF("Initializing HC-SR04 with direct register access...");
    
    /* Set TRIG (GPIO32) as output - use GPIO1 registers */
    GPIO1_ENABLE_REG |= (1UL << (TRIG_PIN - 32));
    GPIO1_OUT_W1TC_REG = (1UL << (TRIG_PIN - 32));  // Set low
    
    /* ECHO (GPIO12) is input by default - use GPIO registers */
    GPIO_ENABLE_REG &= ~(1UL << ECHO_PIN);
    
    LOG_INF("✓ HC-SR04 initialized (TRIG=GPIO%d, ECHO=GPIO%d)", TRIG_PIN, ECHO_PIN);
    
    k_msleep(500);
    
    LOG_INF("Testing sensor...");
    int test_distance = ultrasonic_get_distance_cm();
    if (test_distance >= 0) {
        LOG_INF("✓ Sensor OK - %d cm", test_distance);
    } else {
        LOG_WRN("⚠ No object detected (place object 10-30cm in front)");
    }
    
    return 0;
}

/* Get distance in centimeters */
int ultrasonic_get_distance_cm(void)
{
    uint32_t pulse_start, pulse_end;
    uint32_t pulse_width_us;
    int distance_cm;
    uint32_t timeout;
    
    /* 1. Send trigger pulse - GPIO32 uses GPIO1 registers */
    GPIO1_OUT_W1TC_REG = (1UL << (TRIG_PIN - 32));  // LOW
    ets_delay_us(2);
    
    GPIO1_OUT_W1TS_REG = (1UL << (TRIG_PIN - 32));  // HIGH
    ets_delay_us(10);
    
    GPIO1_OUT_W1TC_REG = (1UL << (TRIG_PIN - 32));  // LOW
    
    /* 2. Wait for ECHO (GPIO12) to go HIGH - use GPIO registers */
    timeout = micros();
    while ((GPIO_IN_REG & (1UL << ECHO_PIN)) == 0) {
        if ((micros() - timeout) > 30000) {
            LOG_DBG("Timeout: ECHO never went HIGH");
            return -1;
        }
    }
    pulse_start = micros();
    
    /* 3. Wait for ECHO to go LOW */
    while ((GPIO_IN_REG & (1UL << ECHO_PIN)) != 0) {
        if ((micros() - pulse_start) > 30000) {
            LOG_DBG("Timeout: ECHO stuck HIGH");
            return -1;
        }
    }
    pulse_end = micros();
    
    /* 4. Calculate pulse width */
    pulse_width_us = pulse_end - pulse_start;
    
    /* 5. Calculate distance: distance = pulse_width / 58 */
    distance_cm = pulse_width_us / 58;
    
    /* 6. Validate range (2-400cm) */
    if (distance_cm < 2 || distance_cm > 400) {
        LOG_DBG("Out of range: %d cm", distance_cm);
        return -1;
    }
    
    LOG_INF("Distance: %d cm (pulse: %u us)", distance_cm, pulse_width_us);
    
    return distance_cm;
}
```

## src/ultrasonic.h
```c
#ifndef ULTRASONIC_H
#define ULTRASONIC_H

#include <stdint.h>

/* Initialize ultrasonic sensor */
int ultrasonic_init(void);

/* Get distance in centimeters */
int ultrasonic_get_distance_cm(void);

#endif /* ULTRASONIC_H */
```
